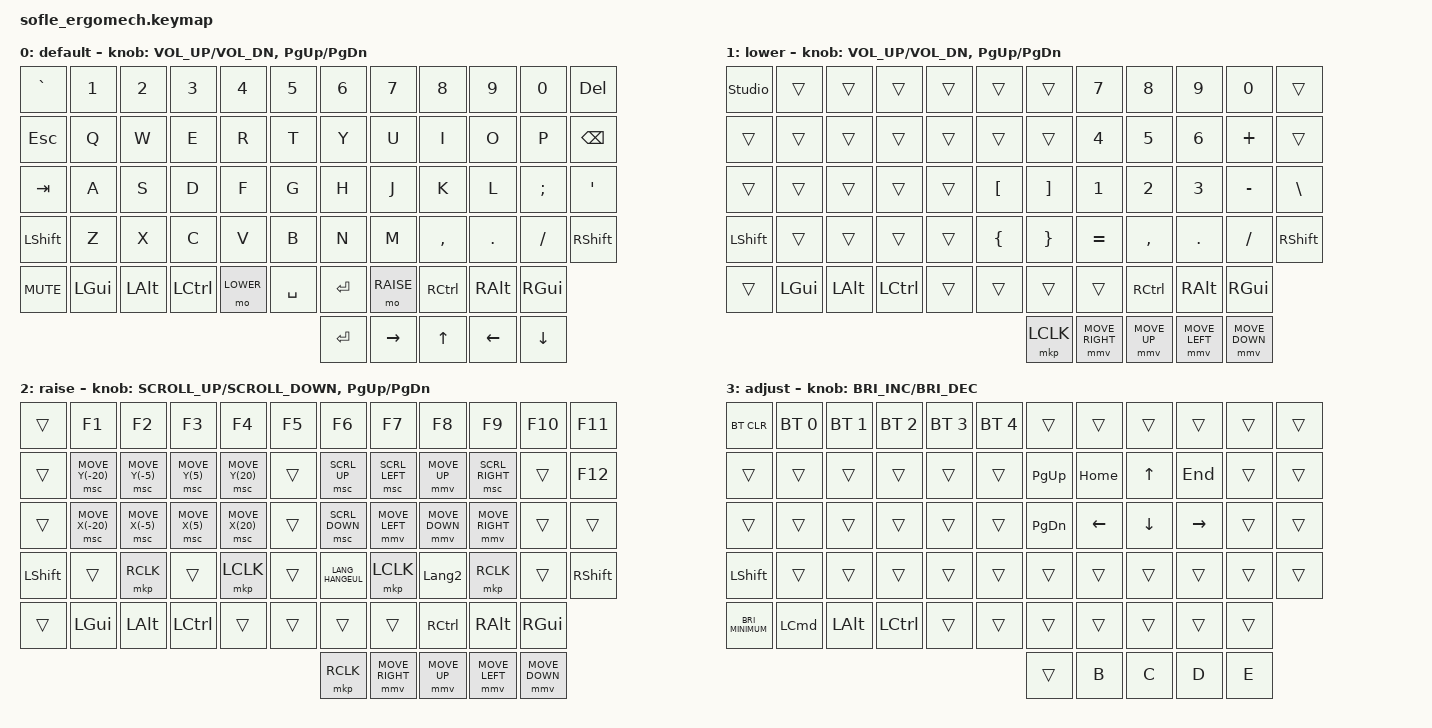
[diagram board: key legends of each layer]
/*
 * Copyright (c) 2020 The ZMK Contributors
 *
 * SPDX-License-Identifier: MIT
 */

#include <behaviors.dtsi>
#include <dt-bindings/zmk/bt.h>
#include <dt-bindings/zmk/keys.h>
#include <dt-bindings/zmk/pointing.h>

#define BASE 0
#define LOWER 1
#define RAISE 2
#define ADJUST 3

/ {
    // Activate ADJUST layer by pressing raise and lower

    conditional_layers {
        compatible = "zmk,conditional-layers";

        adjust_layer {
            if-layers = <LOWER RAISE>;
            then-layer = <ADJUST>;
        };
    };

    keymap {
        compatible = "zmk,keymap";

        default_layer {
            label = "default";

            // ------------------------------------------------------------------------------------------------------------
            // |   `   |  1  |  2  |  3   |  4   |  5   |                   |  6   |  7    |  8    |  9   |   0   |       |
            // |  ESC  |  Q  |  W  |  E   |  R   |  T   |                   |  Y   |  U    |  I    |  O   |   P   | BKSPC |
            // |  TAB  |  A  |  S  |  D   |  F   |  G   |                   |  H   |  J    |  K    |  L   |   ;   |   '   |
            // | SHIFT |  Z  |  X  |  C   |  V   |  B   |  MUTE  |  |       |  N   |  M    |  ,    |  .   |   /   | SHIFT |
            //               | GUI | ALT  | CTRL | LOWER|  ENTER |  | SPACE | RAISE| CTRL  | ALT   | GUI  |

            bindings = <
&kp GRAVE   &kp N1    &kp N2    &kp N3     &kp N4     &kp N5     &kp N6     &kp N7     &kp N8        &kp N9    &kp N0    &kp DEL
&kp ESC     &kp Q     &kp W     &kp E      &kp R      &kp T      &kp Y      &kp U      &kp I         &kp O     &kp P     &kp BSPC
&kp TAB     &kp A     &kp S     &kp D      &kp F      &kp G      &kp H      &kp J      &kp K         &kp L     &kp SEMI  &kp SQT
&kp LSHFT   &kp Z     &kp X     &kp C      &kp V      &kp B      &kp N      &kp M      &kp COMMA     &kp DOT   &kp FSLH  &kp RSHFT
&kp C_MUTE  &kp LGUI  &kp LALT  &kp LCTRL  &mo LOWER  &kp SPACE  &kp ENTER  &mo RAISE  &kp RCTRL     &kp RALT  &kp RGUI
                                                                 &kp ENTER  &kp RIGHT  &kp UP_ARROW  &kp LEFT  &kp DOWN
            >;

            sensor-bindings = <&inc_dec_kp C_VOL_UP C_VOL_DN &inc_dec_kp PG_UP PG_DN>;
        };

        lower_layer {
            label = "lower";

            // TODO: Some binds are waiting for shifted keycode support.
            // ------------------------------------------------------------------------------------------------------------
            // |       |  F1 |  F2 |  F3  |  F4  |  F5  |                   |  F6  |  F7   |  F8   |  F9  |  F10  |  F11  |
            // |   `   |  1  |  2  |  3   |  4   |  5   |                   |  6   |  7    |  8    |  9   |   0   |  F12  |
            // |       |  !  |  @  |  #   |  $   |  %   |                   |  ^   |  &    |  *    |  (   |   )   |   |   |
            // |       |  =  |  -  |  +   |  {   |  }   |        |  |       |  [   |  ]    |  ;    |  :   |   \   |       |
            //               |     |      |      |      |        |  |       |      |       |       |      |

            bindings = <
&studio_unlock  &trans        &trans        &trans            &trans  &trans            &trans             &kp N7           &kp N8             &kp N9          &kp N0          &trans
&trans          &trans        &trans        &trans            &trans  &trans            &trans             &kp N4           &kp N5             &kp N6          &kp PLUS        &trans
&trans          &trans        &trans        &trans            &trans  &kp LEFT_BRACKET  &kp RIGHT_BRACKET  &kp N1           &kp N2             &kp N3          &kp MINUS       &kp BSLH
&kp LEFT_SHIFT  &trans        &trans        &trans            &trans  &kp LBRC          &kp RBRC           &kp EQUAL        &kp COMMA          &kp PERIOD      &kp SLASH       &kp RIGHT_SHIFT
&trans          &kp LEFT_GUI  &kp LEFT_ALT  &kp LEFT_CONTROL  &trans  &trans            &trans             &trans           &kp RIGHT_CONTROL  &kp RIGHT_ALT   &kp RIGHT_GUI
                                                                                        &mkp LCLK          &mmv MOVE_RIGHT  &mmv MOVE_UP       &mmv MOVE_LEFT  &mmv MOVE_DOWN
            >;

            sensor-bindings = <&inc_dec_kp C_VOL_UP C_VOL_DN &inc_dec_kp PG_UP PG_DN>;
        };

        raise_layer {
            label = "raise";

            // ------------------------------------------------------------------------------------------------------------
            // | BTCLR | BT1  | BT2  |  BT3  |  BT4  |  BT5 |                |      |      |       |      |       |       |
            // |       | INS  | PSCR | GUI   |       |      |                | PGUP |      |   ^   |      |       |       |
            // |       | ALT  | CTRL | SHIFT |       | CAPS |                | PGDN |   <- |   v   |  ->  |  DEL  | BKSPC |
            // |       | UNDO | CUT  | COPY  | PASTE |      |      |  |      |      |      |       |      |       |       |
            //                |      |       |       |      |      |  |      |      |      |       |      |

            bindings = <
&trans          &kp F1            &kp F2           &kp F3            &kp F4           &kp F5  &kp F6            &kp F7           &kp F8             &kp F9           &kp F10         &kp F11
&trans          &msc MOVE_Y(-20)  &msc MOVE_Y(-5)  &msc MOVE_Y(5)    &msc MOVE_Y(20)  &trans  &msc SCRL_UP      &msc SCRL_LEFT   &mmv MOVE_UP       &msc SCRL_RIGHT  &trans          &kp F12
&trans          &msc MOVE_X(-20)  &msc MOVE_X(-5)  &msc MOVE_X(5)    &msc MOVE_X(20)  &trans  &msc SCRL_DOWN    &mmv MOVE_LEFT   &mmv MOVE_DOWN     &mmv MOVE_RIGHT  &trans          &trans
&kp LEFT_SHIFT  &trans            &mkp RCLK        &trans            &mkp LCLK        &trans  &kp LANG_HANGEUL  &mkp LCLK        &kp LANGUAGE_2     &mkp RCLK        &trans          &kp RIGHT_SHIFT
&trans          &kp LEFT_GUI      &kp LEFT_ALT     &kp LEFT_CONTROL  &trans           &trans  &trans            &trans           &kp RIGHT_CONTROL  &kp RIGHT_ALT    &kp RIGHT_GUI
                                                                                              &mkp RCLK         &mmv MOVE_RIGHT  &mmv MOVE_UP       &mmv MOVE_LEFT   &mmv MOVE_DOWN
            >;

            sensor-bindings =
                <&inc_dec_kp K_SCROLL_UP K_SCROLL_DOWN>,
                <&inc_dec_kp PG_UP PG_DN>;
        };

        adjust_layer {
            // ----------------------------------------------------------------------------------------------------------------------------
            // | BTCLR  |  BT1    |  BT2    |   BT3   |   BT4   |   BT5   |                  |      |      |       |      |       |       |
            // | EXTPWR | RGB_HUD | RGB_HUI | RGB_SAD | RGB_SAI | RGB_EFF |                  |      |      |       |      |       |       |
            // |        | RGB_BRD | RGB_BRI |         |         |         |                  |      |      |       |      |       |       |
            // |        |         |         |         |         |         | RGB_TOG | |      |      |      |       |      |       |       |
            //                    |         |         |         |         |         | |      |      |      |       |      |

            label = "adjust";
            bindings = <
&bt BT_CLR                &bt BT_SEL 0  &bt BT_SEL 1  &bt BT_SEL 2      &bt BT_SEL 3  &bt BT_SEL 4  &trans         &trans    &trans        &trans     &trans  &trans
&trans                    &trans        &trans        &trans            &trans        &trans        &kp PAGE_UP    &kp HOME  &kp UP_ARROW  &kp END    &trans  &trans
&trans                    &trans        &trans        &trans            &trans        &trans        &kp PAGE_DOWN  &kp LEFT  &kp DOWN      &kp RIGHT  &trans  &trans
&kp LSHFT                 &trans        &trans        &trans            &trans        &trans        &trans         &trans    &trans        &trans     &trans  &trans
&kp C_BRIGHTNESS_MINIMUM  &kp LCMD      &kp LEFT_ALT  &kp LEFT_CONTROL  &trans        &trans        &trans         &trans    &trans        &trans     &trans
                                                                                                    &trans         &kp B     &kp C         &kp D      &kp E
            >;

            sensor-bindings = <&inc_dec_kp C_BRIGHTNESS_INC C_BRIGHTNESS_DEC>;
        };
    };
};
